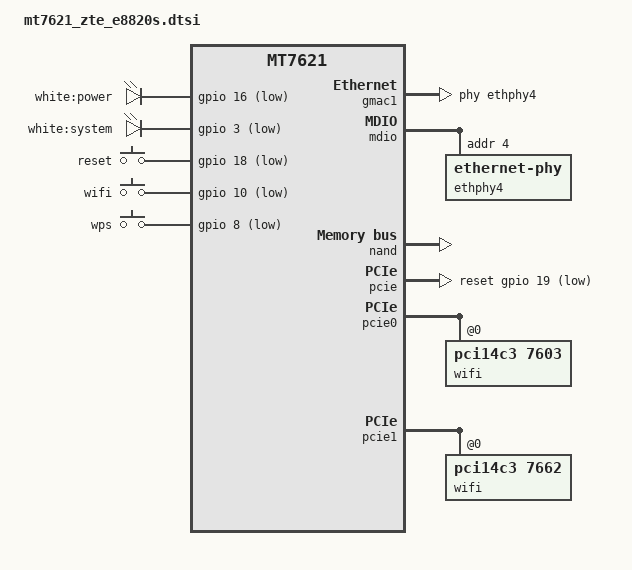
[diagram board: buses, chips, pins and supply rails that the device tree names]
// SPDX-License-Identifier: GPL-2.0-or-later OR MIT

#include "mt7621.dtsi"

#include <dt-bindings/gpio/gpio.h>
#include <dt-bindings/input/input.h>

/ {
	aliases {
		led-boot = &power_led;
		led-failsafe = &system_led;
		led-running = &system_led;
		led-upgrade = &system_led;
		label-mac-device = &gmac0;
	};

	chosen {
		bootargs = "console=ttyS0,115200";
	};

	gpio-leds {
		compatible = "gpio-leds";

		power_led: led-power {
			label = "white:power";
			gpios = <&gpio 16 GPIO_ACTIVE_LOW>;
		};

		system_led: led-system {
			label = "white:system";
			gpios = <&gpio 3 GPIO_ACTIVE_LOW>;
		};
	};

	gpio-keys {
		compatible = "gpio-keys";

		button-reset {
			label = "reset";
			gpios = <&gpio 18 GPIO_ACTIVE_LOW>;
			linux,code = <KEY_RESTART>;
		};

		button-wifi {
			label = "wifi";
			gpios = <&gpio 10 GPIO_ACTIVE_LOW>;
			linux,code = <KEY_RFKILL>;
		};

		button-wps {
			label = "wps";
			gpios = <&gpio 8 GPIO_ACTIVE_LOW>;
			linux,code = <KEY_WPS_BUTTON>;
		};
	};
};

&gmac0 {
	nvmem-cells = <&macaddr_config_12 0>;
	nvmem-cell-names = "mac-address";
};

&gmac1 {
	status = "okay";
	label = "wan";
	phy-handle = <&ethphy4>;

	nvmem-cells = <&macaddr_config_12 0>;
	nvmem-cell-names = "mac-address";
};

&mdio {
	ethphy4: ethernet-phy@4 {
		reg = <4>;
	};
};

&nand {
	status = "okay";

	partitions: partitions {
		compatible = "fixed-partitions";
		#address-cells = <1>;
		#size-cells = <1>;
	};
};

&pcie {
	reset-gpios = <&gpio 19 GPIO_ACTIVE_LOW>,
		      <&gpio 4 GPIO_ACTIVE_LOW>;
	status = "okay";
};

&pcie0 {
	wifi@0,0 {
		compatible = "pci14c3,7603";
		reg = <0x0000 0 0 0 0>;
		nvmem-cells = <&eeprom_factory_f000>, <&macaddr_config_12 0>;
		nvmem-cell-names = "eeprom", "mac-address";
		ieee80211-freq-limit = <2400000 2500000>;

		led {
			led-active-low;
		};
	};
};

&pcie1 {
	wifi@0,0 {
		compatible = "pci14c3,7662";
		reg = <0x0000 0 0 0 0>;
		nvmem-cells = <&eeprom_factory_f800>, <&macaddr_config_12 1>;
		nvmem-cell-names = "eeprom", "mac-address";
		ieee80211-freq-limit = <5000000 6000000>;

		led {
			led-active-low;
			led-sources = <2>;
		};
	};
};

&switch0 {
	ports {
		port@0 {
			status = "okay";
			label = "lan1";
		};

		port@1 {
			status = "okay";
			label = "lan2";
		};

		port@2 {
			status = "okay";
			label = "lan3";
		};

		port@3 {
			status = "okay";
			label = "lan4";
		};
	};
};

&state_default {
	gpio {
		groups = "jtag", "uart2", "uart3", "wdt";
		function = "gpio";
	};
};
